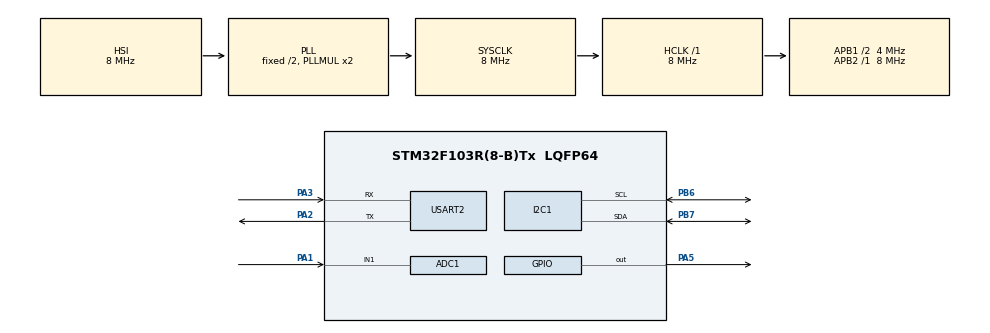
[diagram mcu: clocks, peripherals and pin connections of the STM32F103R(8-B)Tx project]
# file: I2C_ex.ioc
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ADC1.Channel-0\#ChannelRegularConversion=ADC_CHANNEL_1
ADC1.ContinuousConvMode=ENABLE
ADC1.NbrOfConversion=1
ADC1.NbrOfConversionFlag=1
ADC1.Rank-0\#ChannelRegularConversion=1
ADC1.SamplingTime-0\#ChannelRegularConversion=ADC_SAMPLETIME_13CYCLES_5
ADC1.master=1
Mcu.Family=STM32F1
Mcu.Name=STM32F103R(8-B)Tx
Mcu.Package=LQFP64
NVIC.ADC1_2_IRQn=true\:0\:0\:false\:false\:true\:true\:true\:true
NVIC.PriorityGroup=NVIC_PRIORITYGROUP_4
NVIC.USART2_IRQn=true\:0\:0\:false\:false\:true\:true\:true\:true
PA1.Signal=ADCx_IN1
PA2.Mode=Asynchronous
PA2.Signal=USART2_TX
PA3.Mode=Asynchronous
PA3.Signal=USART2_RX
PA5.Signal=GPIO_Output
PB6.Mode=I2C
PB6.Signal=I2C1_SCL
PB7.Mode=I2C
PB7.Signal=I2C1_SDA
ProjectManager.HeapSize=0x200
ProjectManager.StackSize=0x400
ProjectManager.TargetToolchain=CMake
RCC.AHBFreq_Value=8000000
RCC.APB1CLKDivider=RCC_HCLK_DIV2
RCC.APB1Freq_Value=4000000
RCC.APB1TimFreq_Value=8000000
RCC.APB2Freq_Value=8000000
RCC.APB2TimFreq_Value=8000000
RCC.HCLKFreq_Value=8000000
RCC.SYSCLKFreq_VALUE=8000000
RCC.SYSCLKSource=RCC_SYSCLKSOURCE_PLLCLK
RCC.USBFreq_Value=8000000
SH.ADCx_IN1.0=ADC1_IN1,IN1
USART2.VirtualMode=VM_ASYNC
VP_SYS_VS_ND.Mode=No_Debug
board=custom

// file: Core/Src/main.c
/* USER CODE BEGIN Header */
/**
 ******************************************************************************
 * @file           : main.c
 * @brief          : Main program body
 ******************************************************************************
 * @attention
 *
 * Copyright (c) 2025 STMicroelectronics.
 * All rights reserved.
 *
 * This software is licensed under terms that can be found in the LICENSE file
 * in the root directory of this software component.
 * If no LICENSE file comes with this software, it is provided AS-IS.
 *
 ******************************************************************************
 */
/* USER CODE END Header */
#include "main.h"

/* USER CODE BEGIN Includes */
#include "lcd.h"
/* USER CODE END Includes */

ADC_HandleTypeDef hadc1;

I2C_HandleTypeDef hi2c1;

UART_HandleTypeDef huart2;

/* USER CODE BEGIN PV */
uint8_t success_msg[] = "SUCCESS\r\n";
uint8_t error_msg[] = "ERROR\r\n";
uint32_t address = 0x27;
int i, j;
volatile uint32_t adc_value;
uint32_t prev_adc_value;
/* USER CODE END PV */

void SystemClock_Config(void);
static void MX_GPIO_Init(void);
static void MX_I2C1_Init(void);
static void MX_USART2_UART_Init(void);
static void MX_ADC1_Init(void);
/* USER CODE BEGIN PFP */
void HAL_ADC_ConvCpltCallback(ADC_HandleTypeDef *AdcHandler) {
    if (AdcHandler->Instance == ADC1) {
        HAL_GPIO_TogglePin(GPIOA, GPIO_PIN_5);
        adc_value = HAL_ADC_GetValue(AdcHandler);
    }
}
/* USER CODE END PFP */

int main(void) {

    /* MCU
     * Configuration--------------------------------------------------------*/

    /* Reset of all peripherals, Initializes the Flash interface and the
     * Systick. */
    HAL_Init();

    /* Configure the system clock */
    SystemClock_Config();

    /* Initialize all configured peripherals */
    MX_GPIO_Init();
    MX_I2C1_Init();
    MX_USART2_UART_Init();
    MX_ADC1_Init();
    /* USER CODE BEGIN 2 */
    LCD_Init();
    uint8_t str[2][17] = {"Potentiometer   ", "Value           0"};
    LCD_Print(str);
    /* USER CODE END 2 */

    /* Infinite loop */
    while (1) {

        /* USER CODE BEGIN 3 */
        // HAL_Delay(100);
        if (adc_value > 0 && prev_adc_value != adc_value) {
            uint32_t raw = (double)adc_value / 4095 * 100.0;
            prev_adc_value = raw;
            uint8_t msg[18] = "VALUE : 00000000\r\n";
            uint8_t value[4] = "  0";
            i = 15, j = 2;
            while (raw > 0) {
                msg[i--] = '0' + raw % 10;
                value[j--] = '0' + raw % 10;
                raw /= 10;
            }
            HAL_UART_Transmit(&huart2, msg, 18, 0xFF);
            LCD_SetCursorPos(1, 13);
            LCD_PrintChar(value[0]);
            LCD_PrintChar(value[1]);
            LCD_PrintChar(value[2]);
        }
    }
    /* USER CODE END 3 */
}

void SystemClock_Config(void) {
    RCC_OscInitTypeDef RCC_OscInitStruct = {0};
    RCC_ClkInitTypeDef RCC_ClkInitStruct = {0};
    RCC_PeriphCLKInitTypeDef PeriphClkInit = {0};

    /** Initializes the RCC Oscillators according to the specified parameters
     * in the RCC_OscInitTypeDef structure.
     */
    RCC_OscInitStruct.OscillatorType = RCC_OSCILLATORTYPE_HSI;
    RCC_OscInitStruct.HSIState = RCC_HSI_ON;
    RCC_OscInitStruct.HSICalibrationValue = RCC_HSICALIBRATION_DEFAULT;
    RCC_OscInitStruct.PLL.PLLState = RCC_PLL_ON;
    RCC_OscInitStruct.PLL.PLLSource = RCC_PLLSOURCE_HSI_DIV2;
    RCC_OscInitStruct.PLL.PLLMUL = RCC_PLL_MUL2;
    if (HAL_RCC_OscConfig(&RCC_OscInitStruct) != HAL_OK) {
        Error_Handler();
    }

    /** Initializes the CPU, AHB and APB buses clocks
     */
    RCC_ClkInitStruct.ClockType = RCC_CLOCKTYPE_HCLK | RCC_CLOCKTYPE_SYSCLK |
                                  RCC_CLOCKTYPE_PCLK1 | RCC_CLOCKTYPE_PCLK2;
    RCC_ClkInitStruct.SYSCLKSource = RCC_SYSCLKSOURCE_PLLCLK;
    RCC_ClkInitStruct.AHBCLKDivider = RCC_SYSCLK_DIV1;
    RCC_ClkInitStruct.APB1CLKDivider = RCC_HCLK_DIV2;
    RCC_ClkInitStruct.APB2CLKDivider = RCC_HCLK_DIV1;

    if (HAL_RCC_ClockConfig(&RCC_ClkInitStruct, FLASH_LATENCY_0) != HAL_OK) {
        Error_Handler();
    }
    PeriphClkInit.PeriphClockSelection = RCC_PERIPHCLK_ADC;
    PeriphClkInit.AdcClockSelection = RCC_ADCPCLK2_DIV2;
    if (HAL_RCCEx_PeriphCLKConfig(&PeriphClkInit) != HAL_OK) {
        Error_Handler();
    }
}

static void MX_ADC1_Init(void) {

    ADC_ChannelConfTypeDef sConfig = {0};

    /** Common config
     */
    hadc1.Instance = ADC1;
    hadc1.Init.ScanConvMode = ADC_SCAN_DISABLE;
    hadc1.Init.ContinuousConvMode = ENABLE;
    hadc1.Init.DiscontinuousConvMode = DISABLE;
    hadc1.Init.ExternalTrigConv = ADC_SOFTWARE_START;
    hadc1.Init.DataAlign = ADC_DATAALIGN_RIGHT;
    hadc1.Init.NbrOfConversion = 1;
    if (HAL_ADC_Init(&hadc1) != HAL_OK) {
        Error_Handler();
    }

    /** Configure Regular Channel
     */
    sConfig.Channel = ADC_CHANNEL_1;
    sConfig.Rank = ADC_REGULAR_RANK_1;
    sConfig.SamplingTime = ADC_SAMPLETIME_13CYCLES_5;
    if (HAL_ADC_ConfigChannel(&hadc1, &sConfig) != HAL_OK) {
        Error_Handler();
    }
    /* USER CODE BEGIN ADC1_Init 2 */
    if (HAL_ADCEx_Calibration_Start(&hadc1) != HAL_OK) {
        /* Calibration Error */
        Error_Handler();
    }
    HAL_ADC_Start_IT(&hadc1);
    HAL_ADC_PollForConversion(&hadc1, 0xFFFF);

    /* USER CODE END ADC1_Init 2 */
}

static void MX_I2C1_Init(void) {

    hi2c1.Instance = I2C1;
    hi2c1.Init.ClockSpeed = 100000;
    hi2c1.Init.DutyCycle = I2C_DUTYCYCLE_2;
    hi2c1.Init.OwnAddress1 = 0;
    hi2c1.Init.AddressingMode = I2C_ADDRESSINGMODE_7BIT;
    hi2c1.Init.DualAddressMode = I2C_DUALADDRESS_DISABLE;
    hi2c1.Init.OwnAddress2 = 0;
    hi2c1.Init.GeneralCallMode = I2C_GENERALCALL_DISABLE;
    hi2c1.Init.NoStretchMode = I2C_NOSTRETCH_DISABLE;
    if (HAL_I2C_Init(&hi2c1) != HAL_OK) {
        Error_Handler();
    }
}

static void MX_USART2_UART_Init(void) {

    huart2.Instance = USART2;
    huart2.Init.BaudRate = 115200;
    huart2.Init.WordLength = UART_WORDLENGTH_8B;
    huart2.Init.StopBits = UART_STOPBITS_1;
    huart2.Init.Parity = UART_PARITY_NONE;
    huart2.Init.Mode = UART_MODE_TX_RX;
    huart2.Init.HwFlowCtl = UART_HWCONTROL_NONE;
    huart2.Init.OverSampling = UART_OVERSAMPLING_16;
    if (HAL_UART_Init(&huart2) != HAL_OK) {
        Error_Handler();
    }
}

static void MX_GPIO_Init(void) {
    GPIO_InitTypeDef GPIO_InitStruct = {0};

    /* GPIO Ports Clock Enable */
    __HAL_RCC_GPIOA_CLK_ENABLE();
    __HAL_RCC_GPIOB_CLK_ENABLE();

    /*Configure GPIO pin Output Level */
    HAL_GPIO_WritePin(GPIOA, GPIO_PIN_5, GPIO_PIN_RESET);

    /*Configure GPIO pin : PA5 */
    GPIO_InitStruct.Pin = GPIO_PIN_5;
    GPIO_InitStruct.Mode = GPIO_MODE_OUTPUT_PP;
    GPIO_InitStruct.Pull = GPIO_NOPULL;
    GPIO_InitStruct.Speed = GPIO_SPEED_FREQ_LOW;
    HAL_GPIO_Init(GPIOA, &GPIO_InitStruct);

}

void Error_Handler(void) {
    /* USER CODE BEGIN Error_Handler_Debug */
    /* User can add his own implementation to report the HAL error return state
     */
    __disable_irq();
    while (1) {
    }
    /* USER CODE END Error_Handler_Debug */
}

#ifdef USE_FULL_ASSERT
/**
 * @brief  Reports the name of the source file and the source line number
 *         where the assert_param error has occurred.
 * @param  file: pointer to the source file name
 * @param  line: assert_param error line source number
 * @retval None
 */
void assert_failed(uint8_t *file, uint32_t line) {
    /* USER CODE BEGIN 6 */
    /* User can add his own implementation to report the file name and line
       number, ex: printf("Wrong parameters value: file %s on line %d\r\n",
       file, line) */
    /* USER CODE END 6 */
}
#endif /* USE_FULL_ASSERT */
